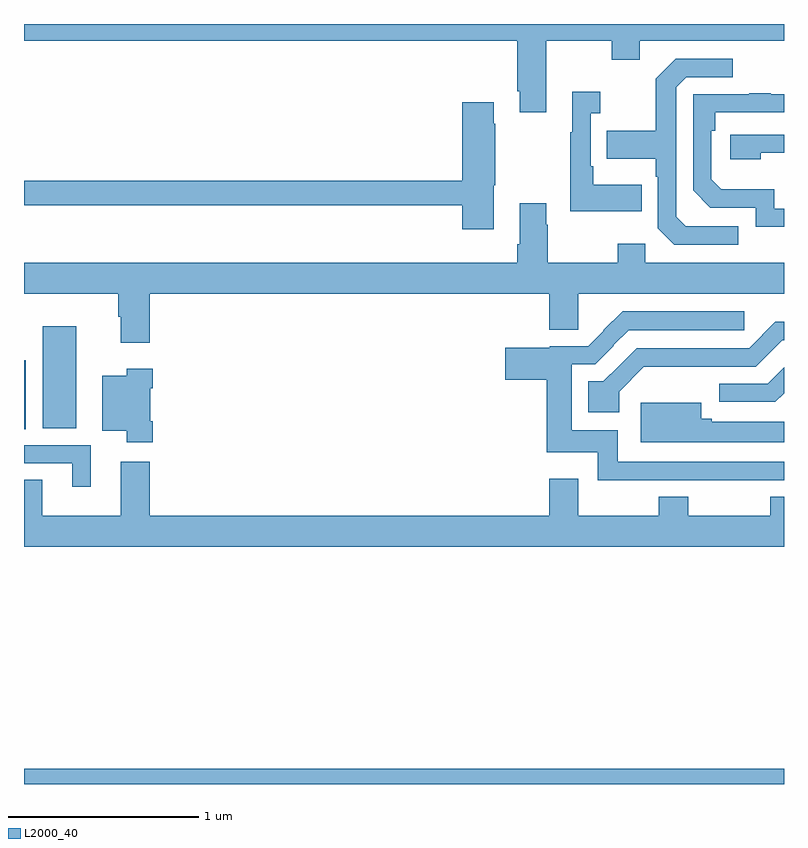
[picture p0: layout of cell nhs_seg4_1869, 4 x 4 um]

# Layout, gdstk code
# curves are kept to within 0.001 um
import gdstk
lib = gdstk.Library(unit=1e-6, precision=1e-09)
def R(c, l, rs):  # rectangles x0, y0, x1, y1
    for r in rs: c.add(gdstk.rectangle(r[:2], r[2:], *l))
def P(c, l, *ps):  # polygons
    for p in ps: c.add(gdstk.Polygon(p, *l))
L2000_40 = (2000, 40)

nhs_seg4_1869 = lib.new_cell('nhs_seg4_1869')
R(nhs_seg4_1869, L2000_40, [(207,800.9,211,800.98), (207,802.768,207.01,803.131), (207.098,802.772,207.274,803.308)])
P(nhs_seg4_1869, L2000_40, [(209.749,804.812),(210.094,804.812),(210.094,804.713),(210.241,804.713),(210.241,804.812),(211,804.812),(211,804.9),(207,804.9),(207,804.812),(209.597,804.812),(209.597,804.547),(209.609,804.547),(209.609,804.435),(209.749,804.435)],
  [(210.76,803.835),(210.483,803.835),(210.432,803.886),(210.432,804.567),(210.486,804.621),(210.73,804.621),(210.73,804.717),(210.429,804.717),(210.324,804.611),(210.324,804.339),(210.067,804.339),(210.067,804.191),(210.324,804.191),(210.324,804.095),(210.336,804.095),(210.336,803.826),(210.423,803.739),(210.76,803.739)],
  [(210.251,804.055),(209.995,804.055),(209.995,804.151),(209.982,804.151),(209.982,804.431),(210.034,804.431),(210.034,804.544),(209.885,804.544),(209.885,804.331),(209.874,804.331),(209.874,803.915),(210.251,803.915)],
  [(211,803.928),(210.948,803.928),(210.948,804.031),(210.671,804.031),(210.618,804.084),(210.618,804.338),(210.638,804.338),(210.638,804.435),(211,804.435),(211,804.531),(210.929,804.531),(210.929,804.536),(210.817,804.536),(210.817,804.531),(210.522,804.531),(210.522,804.024),(210.612,803.934),(210.852,803.934),(210.852,803.832),(211,803.832)],
  [(209.473,804.051),(209.481,804.051),(209.481,804.374),(209.473,804.374),(209.473,804.487),(209.306,804.487),(209.306,804.074),(207,804.074),(207,803.946),(209.306,803.946),(209.306,803.82),(209.473,803.82)],
  [(210.878,804.222),(211,804.222),(211,804.318),(210.717,804.318),(210.717,804.188),(210.878,804.188)],
  [(207.662,803.48),(209.765,803.48),(209.765,803.29),(209.916,803.29),(209.916,803.48),(211,803.48),(211,803.644),(210.27,803.644),(210.27,803.743),(210.124,803.743),(210.124,803.644),(209.757,803.644),(209.757,803.843),(209.749,803.843),(209.749,803.956),(209.609,803.956),(209.609,803.74),(209.597,803.74),(209.597,803.644),(207,803.644),(207,803.48),(207.497,803.48),(207.497,803.36),(207.509,803.36),(207.509,803.223),(207.662,803.223)],
  [(210.251,802.5),(211,802.5),(211,802.596),(210.124,802.596),(210.124,802.762),(209.884,802.762),(209.884,803.109),(210.007,803.109),(210.104,803.206),(210.102,803.208),(210.183,803.289),(210.79,803.289),(210.79,803.389),(210.15,803.389),(210.049,803.288),(210.051,803.286),(209.97,803.205),(209.766,803.205),(209.766,803.197),(209.532,803.197),(209.532,803.027),(209.75,803.027),(209.75,802.646),(210.02,802.646),(210.02,802.499)],
  [(210.132,802.965),(210.263,803.096),(210.852,803.097),(210.99,803.235),(211,803.235),(211,803.332),(210.955,803.332),(210.816,803.193),(210.224,803.193),(210.049,803.02),(209.969,803.02),(209.969,802.856),(210.132,802.856)],
  [(211,802.957),(211,803.093),(210.914,803.007),(210.66,803.007),(210.66,802.911),(210.954,802.911)],
  [(207.677,802.81),(207.664,802.81),(207.664,802.982),(207.677,802.982),(207.677,803.086),(207.542,803.086),(207.542,803.05),(207.413,803.05),(207.413,802.76),(207.542,802.76),(207.542,802.698),(207.677,802.698)],
  [(211,802.807),(210.621,802.807),(210.621,802.822),(210.565,802.822),(210.565,802.906),(210.246,802.906),(210.246,802.7),(211,802.7)],
  [(207.352,802.683),(207,802.683),(207,802.587),(207.254,802.587),(207.254,802.464),(207.352,802.464)],
  [(211,802.411),(210.928,802.411),(210.928,802.312),(210.495,802.312),(210.495,802.411),(210.34,802.411),(210.34,802.312),(209.917,802.312),(209.917,802.507),(209.765,802.507),(209.765,802.312),(207.662,802.312),(207.662,802.597),(207.509,802.597),(207.509,802.312),(207.097,802.312),(207.097,802.502),(207,802.502),(207,802.148),(211,802.148)])

lib.write_gds('nhs_seg4_1869.gds')
